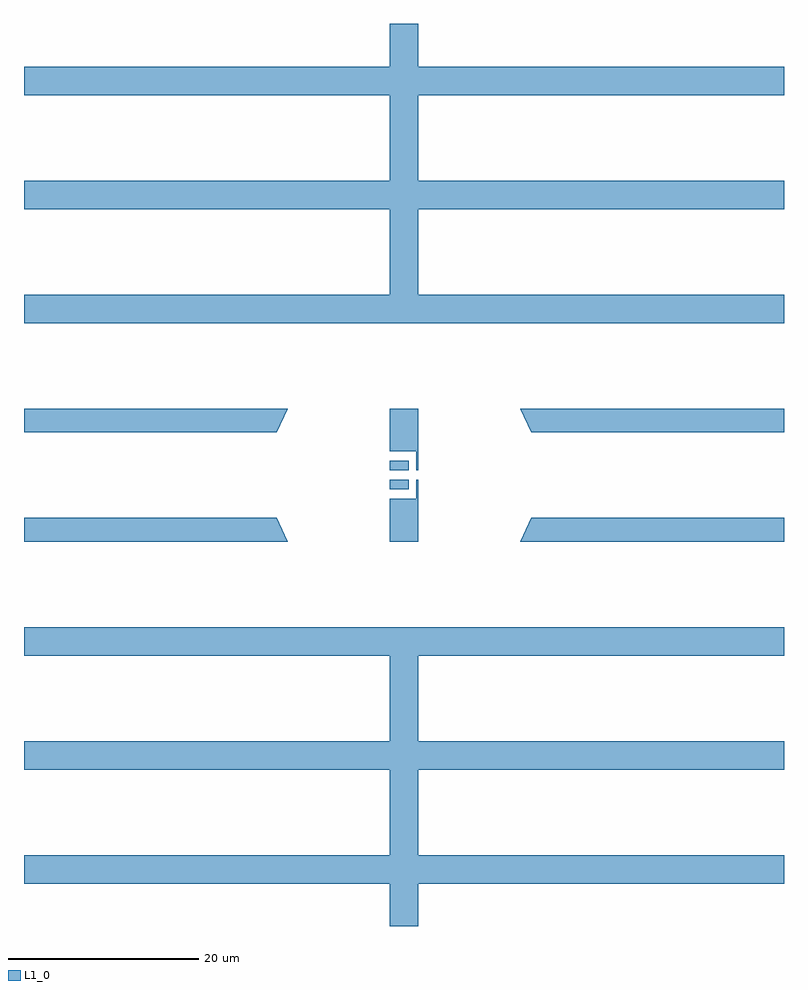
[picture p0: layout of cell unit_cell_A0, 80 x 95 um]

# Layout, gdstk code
from math import pi, radians
import gdstk
lib = gdstk.Library(unit=1e-6, precision=1e-09)
def R(c, l, rs):  # rectangles x0, y0, x1, y1
    for r in rs: c.add(gdstk.rectangle(r[:2], r[2:], *l))
def P(c, l, *ps):  # polygons
    for p in ps: c.add(gdstk.Polygon(p, *l))
L1_0 = (1, 0)

unnamed_2398 = lib.new_cell('Unnamed_2398')
R(unnamed_2398, L1_0, [(38.5,40.5,40,45)])
P(unnamed_2398, L1_0, [(38.5,0),(38.5,4.5),(0,4.5),(0,7.5),(38.5,7.5),(38.5,16.5),(0,16.5),(0,19.5),(38.5,19.5),(38.5,28.5),(0,28.5),(0,31.5),(40,31.5),(40,0)],
  [(0,40.5),(0,43),(26.597,43),(27.773,40.5)])

unnamed_2399 = lib.new_cell('Unnamed_2399')
unnamed_2399.add(gdstk.Reference(unnamed_2398, (0,0)))

rectangle_s2_1_lwg_cfal_ = lib.new_cell('rectangle_S2_1_LWG_CFal_a0a9c26d')
R(rectangle_s2_1_lwg_cfal_, L1_0, [(0,0,2,1)])

rectangle_s0p2_2_lwg_cf_ = lib.new_cell('rectangle_S0p2_2_LWG_CF_9ef6d549')
R(rectangle_s0p2_2_lwg_cf_, L1_0, [(0,0,0.2,2)])

unnamed_2400 = lib.new_cell('Unnamed_2400')
unnamed_2400.add(gdstk.Reference(rectangle_s2_1_lwg_cfal_, (0,-1.5)))
unnamed_2400.add(gdstk.Reference(rectangle_s0p2_2_lwg_cf_, (2.8,-2.5)))

unit_cell_a0 = lib.new_cell('unit_cell_A0')
unit_cell_a0.add(gdstk.Reference(unnamed_2399, (0,0)))
unit_cell_a0.add(gdstk.Reference(unnamed_2399, (80,0), rotation=pi, x_reflection=True))
unit_cell_a0.add(gdstk.Reference(unnamed_2399, (0,95), x_reflection=True))
unit_cell_a0.add(gdstk.Reference(unnamed_2399, (80,95), rotation=pi))
unit_cell_a0.add(gdstk.Reference(unnamed_2400, (38.5,47.5)))
unit_cell_a0.add(gdstk.Reference(unnamed_2400, (38.5,47.5), x_reflection=True))

lib.write_gds('unit_cell_A0.gds')
